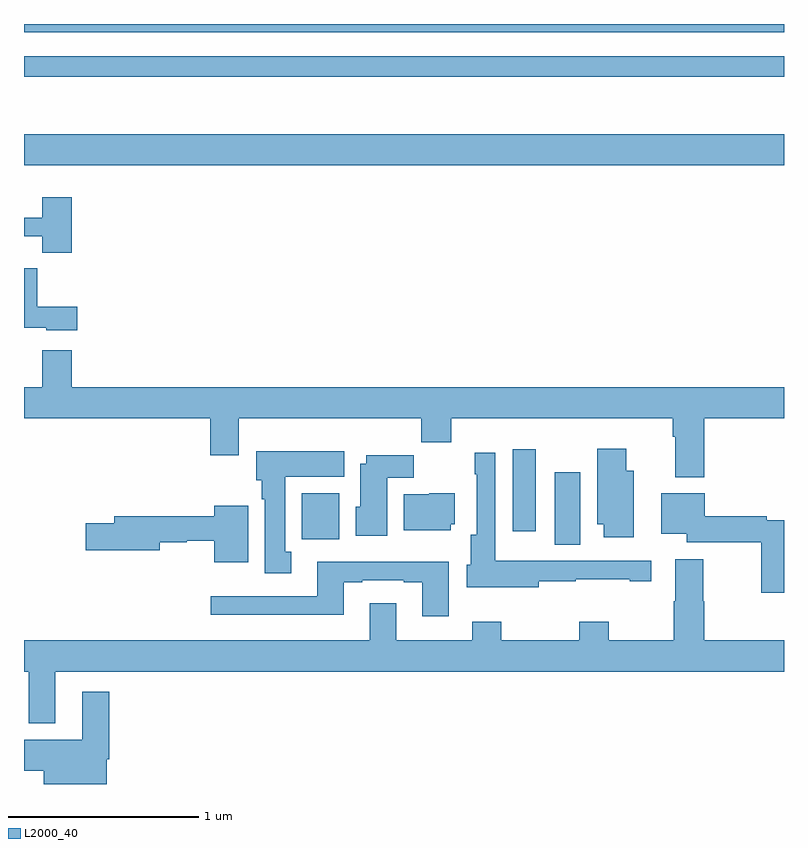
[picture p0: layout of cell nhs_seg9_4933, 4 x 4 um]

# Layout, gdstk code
import gdstk
lib = gdstk.Library(unit=1e-6, precision=1e-09)
def R(c, l, rs):  # rectangles x0, y0, x1, y1
    for r in rs: c.add(gdstk.rectangle(r[:2], r[2:], *l))
def P(c, l, *ps):  # polygons
    for p in ps: c.add(gdstk.Polygon(p, *l))
L2000_40 = (2000, 40)

nhs_seg9_4933 = lib.new_cell('nhs_seg9_4933')
R(nhs_seg9_4933, L2000_40, [(399.794,1191.76,399.928,1192.141), (398.462,1191.788,398.659,1192.03), (399.572,1191.831,399.694,1192.261), (397,1193.756,401,1193.92), (397,1194.222,401,1194.33), (397,1194.456,401,1194.5)])
P(nhs_seg9_4933, L2000_40, [(397.25,1193.587),(397.097,1193.587),(397.097,1193.481),(397,1193.481),(397,1193.384),(397.095,1193.384),(397.095,1193.297),(397.25,1193.297)],
  [(397.279,1193.011),(397.07,1193.011),(397.07,1193.215),(397,1193.215),(397,1192.901),(397.116,1192.901),(397.116,1192.889),(397.279,1192.889)],
  [(400.58,1192.424),(401,1192.424),(401,1192.588),(397.25,1192.588),(397.25,1192.783),(397.097,1192.783),(397.097,1192.588),(397,1192.588),(397,1192.424),(397.979,1192.424),(397.979,1192.23),(398.131,1192.23),(398.131,1192.424),(399.091,1192.424),(399.091,1192.3),(399.248,1192.3),(399.248,1192.424),(400.415,1192.424),(400.415,1192.328),(400.427,1192.328),(400.427,1192.115),(400.58,1192.115)],
  [(400.21,1192.15),(400.171,1192.15),(400.171,1192.264),(400.016,1192.264),(400.016,1191.866),(400.052,1191.866),(400.052,1191.798),(400.21,1191.798)],
  [(398.407,1191.722),(398.374,1191.722),(398.374,1192.118),(398.686,1192.118),(398.686,1192.252),(398.222,1192.252),(398.222,1192.098),(398.252,1192.098),(398.252,1191.998),(398.267,1191.998),(398.267,1191.609),(398.407,1191.609)],
  [(399.709,1191.567),(399.905,1191.567),(399.905,1191.577),(400.187,1191.577),(400.187,1191.567),(400.3,1191.567),(400.3,1191.675),(399.705,1191.675),(399.705,1191.676),(399.48,1191.676),(399.48,1192.243),(399.372,1192.243),(399.372,1192.13),(399.384,1192.13),(399.384,1191.811),(399.35,1191.811),(399.35,1191.654),(399.329,1191.654),(399.329,1191.536),(399.709,1191.536)],
  [(398.911,1192.112),(399.05,1192.112),(399.05,1192.231),(398.801,1192.231),(398.801,1192.186),(398.771,1192.186),(398.771,1191.96),(398.747,1191.96),(398.747,1191.806),(398.911,1191.806)],
  [(401,1191.888),(400.91,1191.888),(400.91,1191.908),(400.582,1191.908),(400.582,1192.03),(400.355,1192.03),(400.355,1191.818),(400.488,1191.818),(400.488,1191.772),(400.879,1191.772),(400.879,1191.507),(401,1191.507)],
  [(399.246,1191.867),(399.268,1191.867),(399.268,1192.03),(399.132,1192.03),(399.132,1192.024),(398.999,1192.024),(398.999,1191.836),(399.246,1191.836)],
  [(398.179,1191.964),(398,1191.964),(398,1191.908),(397.475,1191.908),(397.475,1191.872),(397.326,1191.872),(397.326,1191.73),(397.714,1191.73),(397.714,1191.772),(397.857,1191.772),(397.857,1191.78),(398,1191.78),(398,1191.668),(398.179,1191.668)],
  [(397.165,1191.092),(401,1191.092),(401,1191.256),(400.58,1191.256),(400.58,1191.461),(400.575,1191.461),(400.575,1191.682),(400.427,1191.682),(400.427,1191.461),(400.42,1191.461),(400.42,1191.256),(400.077,1191.256),(400.077,1191.355),(399.922,1191.355),(399.922,1191.256),(399.513,1191.256),(399.513,1191.355),(399.358,1191.355),(399.358,1191.256),(398.959,1191.256),(398.959,1191.451),(398.819,1191.451),(398.819,1191.256),(397,1191.256),(397,1191.092),(397.025,1191.092),(397.025,1190.819),(397.165,1190.819)],
  [(399.235,1191.67),(398.543,1191.67),(398.543,1191.489),(397.983,1191.489),(397.983,1191.392),(398.683,1191.392),(398.683,1191.561),(398.779,1191.561),(398.779,1191.573),(398.999,1191.573),(398.999,1191.561),(399.095,1191.561),(399.095,1191.384),(399.235,1191.384)],
  [(397.435,1190.63),(397.448,1190.63),(397.448,1190.986),(397.307,1190.986),(397.307,1190.734),(397,1190.734),(397,1190.57),(397.103,1190.57),(397.103,1190.5),(397.435,1190.5)])

lib.write_gds('nhs_seg9_4933.gds')
